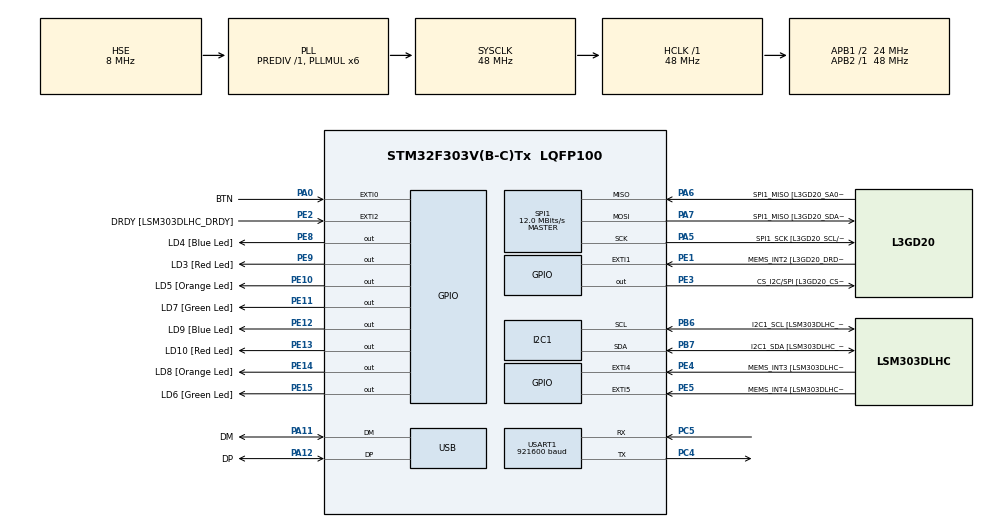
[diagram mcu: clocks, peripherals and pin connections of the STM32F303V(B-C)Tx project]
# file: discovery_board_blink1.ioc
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I2C1.Timing=0x00201D2B
I2C1.Timing-I2C=0x2000090E
Mcu.Family=STM32F3
Mcu.Name=STM32F303V(B-C)Tx
Mcu.Package=LQFP100
NVIC.EXTI0_IRQn=true\:0\:0\:false\:false\:true\:true\:true\:true
NVIC.PriorityGroup=NVIC_PRIORITYGROUP_0
PA0.GPIO_Label=BTN
PA0.GPIO_ModeDefaultEXTI=GPIO_MODE_IT_RISING
PA0.GPIO_PuPd=GPIO_PULLDOWN
PA0.Signal=GPXTI0
PA11.GPIO_Label=DM
PA11.Mode=Device
PA11.Signal=USB_DM
PA12.GPIO_Label=DP
PA12.Mode=Device
PA12.Signal=USB_DP
PA13.GPIO_Label=SWDIO
PA13.Mode=Serial_Wire
PA13.Signal=SYS_JTMS-SWDIO
PA14.GPIO_Label=SWCLK
PA14.Mode=Serial_Wire
PA14.Signal=SYS_JTCK-SWCLK
PA5.GPIO_Label=SPI1_SCK [L3GD20_SCL/SPC]
PA5.Mode=Full_Duplex_Master
PA5.Signal=SPI1_SCK
PA6.GPIO_Label=SPI1_MISO [L3GD20_SA0/SDO]
PA6.Mode=Full_Duplex_Master
PA6.Signal=SPI1_MISO
PA7.GPIO_Label=SPI1_MISO [L3GD20_SDA/SDI/SDO]
PA7.Mode=Full_Duplex_Master
PA7.Signal=SPI1_MOSI
PB3.GPIO_Label=SWO
PB3.Signal=SYS_JTDO-TRACESWO
PB6.GPIO_Label=I2C1_SCL [LSM303DLHC_SCL]
PB6.GPIO_Pu=GPIO_PULLUP
PB6.Mode=I2C
PB6.Signal=I2C1_SCL
PB7.GPIO_Label=I2C1_SDA [LSM303DLHC_SDA]
PB7.GPIO_Pu=GPIO_PULLUP
PB7.Mode=I2C
PB7.Signal=I2C1_SDA
PC14-OSC32_IN.GPIO_Label=OSC32_IN
PC14-OSC32_IN.Signal=RCC_OSC32_IN
PC15-OSC32_OUT.GPIO_Label=OSC32_OUT
PC15-OSC32_OUT.Signal=RCC_OSC32_OUT
PC4.Mode=Asynchronous
PC4.Signal=USART1_TX
PC5.Mode=Asynchronous
PC5.Signal=USART1_RX
PE1.GPIO_Label=MEMS_INT2 [L3GD20_DRDY/INT2]
PE1.GPIO_ModeDefaultEXTI=GPIO_MODE_EVT_RISING
PE1.Signal=GPXTI1
PE10.GPIO_Label=LD5 [Orange Led]
PE10.Signal=GPIO_Output
PE11.GPIO_Label=LD7 [Green Led]
PE11.PinState=GPIO_PIN_RESET
PE11.Signal=GPIO_Output
PE12.GPIO_Label=LD9 [Blue Led]
PE12.PinState=GPIO_PIN_RESET
PE12.Signal=GPIO_Output
PE13.GPIO_Label=LD10 [Red Led]
PE13.Signal=GPIO_Output
PE14.GPIO_Label=LD8 [Orange Led]
PE14.Signal=GPIO_Output
PE15.GPIO_Label=LD6 [Green Led]
PE15.Signal=GPIO_Output
PE2.GPIO_Label=DRDY [LSM303DLHC_DRDY]
PE2.GPIO_ModeDefaultEXTI=GPIO_MODE_EVT_RISING
PE2.Signal=GPXTI2
PE3.GPIO_Label=CS_I2C/SPI [L3GD20_CS_I2C/SPI]
PE3.Signal=GPIO_Output
PE4.GPIO_Label=MEMS_INT3 [LSM303DLHC_INT1]
PE4.GPIO_ModeDefaultEXTI=GPIO_MODE_EVT_RISING
PE4.Signal=GPXTI4
PE5.GPIO_Label=MEMS_INT4 [LSM303DLHC_INT2]
PE5.GPIO_ModeDefaultEXTI=GPIO_MODE_EVT_RISING
PE5.Signal=GPXTI5
PE8.GPIO_Label=LD4 [Blue Led]
PE8.Signal=GPIO_Output
PE9.GPIO_Label=LD3 [Red Led]
PE9.Signal=GPIO_Output
PF0-OSC_IN.GPIO_Label=OSC_IN
PF0-OSC_IN.Mode=HSE-External-Clock-Source
PF0-OSC_IN.Signal=RCC_OSC_IN
PF1-OSC_OUT.GPIO_Label=OSC_OUT
PF1-OSC_OUT.Signal=RCC_OSC_OUT
ProjectManager.HeapSize=0x200
ProjectManager.StackSize=0x400
ProjectManager.TargetToolchain=STM32CubeIDE
RCC.AHBFreq_Value=48000000
RCC.APB1CLKDivider=RCC_HCLK_DIV2
RCC.APB1Freq_Value=24000000
RCC.APB1TimFreq_Value=48000000
RCC.APB2Freq_Value=48000000
RCC.APB2TimFreq_Value=48000000
RCC.CortexFreq_Value=48000000
RCC.HCLKFreq_Value=48000000
RCC.HSE_VALUE=8000000
RCC.HSI_VALUE=8000000
RCC.LSE_VALUE=32768
RCC.PLLMUL=RCC_PLL_MUL6
RCC.SYSCLKFreq_VALUE=48000000
RCC.SYSCLKSourceVirtual=RCC_SYSCLKSOURCE_PLLCLK
RCC.USBFreq_Value=48000000
SPI1.BaudRatePrescaler=SPI_BAUDRATEPRESCALER_4
SPI1.BaudRatePrescaler-Full_Duplex_Master=SPI_BAUDRATEPRESCALER_2
SPI1.CalculateBaudRate=12.0 MBits/s
SPI1.CalculateBaudRate-Full_Duplex_Master=24.0 MBits/s
SPI1.Direction=SPI_DIRECTION_2LINES
SPI1.Mode=SPI_MODE_MASTER
SPI1.Mode-Full_Duplex_Master=SPI_MODE_MASTER
SPI1.VirtualType=VM_MASTER
USART1.BaudRate=921600
USART1.VirtualMode-Asynchronous=VM_ASYNC
board=STM32F3DISCOVERY

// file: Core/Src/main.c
/* USER CODE BEGIN Header */
/**
  ******************************************************************************
  * @file           : main.c
  * @brief          : Main program body
  ******************************************************************************
  * @attention
  *
  * Copyright (c) 2025 STMicroelectronics.
  * All rights reserved.
  *
  * This software is licensed under terms that can be found in the LICENSE file
  * in the root directory of this software component.
  * If no LICENSE file comes with this software, it is provided AS-IS.
  *
  ******************************************************************************
  */
/* USER CODE END Header */
#include "main.h"

/* USER CODE BEGIN Includes */
#include <stdio.h>
/* USER CODE END Includes */

I2C_HandleTypeDef hi2c1;

SPI_HandleTypeDef hspi1;

UART_HandleTypeDef huart1;

PCD_HandleTypeDef hpcd_USB_FS;

/* USER CODE BEGIN PV */
uint8_t btn_press = 0;

uint16_t blink_delays[] = {
		500,
		250,
		100
};

uint8_t blink_delay = 0;

/* USER CODE END PV */

void SystemClock_Config(void);
static void MX_GPIO_Init(void);
static void MX_I2C1_Init(void);
static void MX_SPI1_Init(void);
static void MX_USB_PCD_Init(void);
static void MX_USART1_UART_Init(void);

/* USER CODE BEGIN 0 */

/* USER CODE BEGIN 0 */

// Send printf to uart1
int _write(int fd, char* ptr, int len) {
  HAL_StatusTypeDef hstatus;

  if (fd == 1 || fd == 2) {
    hstatus = HAL_UART_Transmit(&huart1, (uint8_t *) ptr, len, HAL_MAX_DELAY);
    if (hstatus == HAL_OK)
      return len;
    else
      return -1;
  }
  return -1;
}

void HAL_GPIO_EXTI_Callback(uint16_t GPIO_Pin) {
	if (GPIO_Pin == BTN_Pin) {
		btn_press = 1;
	}
}

/* USER CODE END 0 */

int main(void)
{

  /* MCU Configuration--------------------------------------------------------*/

  /* Reset of all peripherals, Initializes the Flash interface and the Systick. */
  HAL_Init();

  /* Configure the system clock */
  SystemClock_Config();

  /* Initialize all configured peripherals */
  MX_GPIO_Init();
  MX_I2C1_Init();
  MX_SPI1_Init();
  MX_USB_PCD_Init();
  MX_USART1_UART_Init();
  /* USER CODE BEGIN 2 */

  printf("Blink1 starting\n");
  /* USER CODE END 2 */

  /* Infinite loop */
  /* USER CODE BEGIN WHILE */

  uint32_t now = 0, next_blink = 500, next_tick = 1000, loop_cnt = 0;

  while (1)
  {

	  now = HAL_GetTick();

	  if ( now >= next_blink) {

		  //printf("Toggle GPIO\n");

		  HAL_GPIO_TogglePin(GPIOE, GPIO_PIN_11);

		  next_blink = now + blink_delays[blink_delay];
	  }

	 if (now >= next_tick) {
		 printf("Tick %lu ( loop count = %lu)\n", now/ 1000, loop_cnt );

		 loop_cnt = 0;
		 next_tick = now + 1000;
	 }

	 if (btn_press){

		 printf("Button pressed\n");

		 ++blink_delay;
		 if(blink_delay >= sizeof(blink_delays) / sizeof(blink_delays[0]))
			 blink_delay = 0;

		 btn_press = 0;
	 }

	 ++loop_cnt;

    /* USER CODE END WHILE */

  }
}

void SystemClock_Config(void)
{
  RCC_OscInitTypeDef RCC_OscInitStruct = {0};
  RCC_ClkInitTypeDef RCC_ClkInitStruct = {0};
  RCC_PeriphCLKInitTypeDef PeriphClkInit = {0};

  /** Initializes the RCC Oscillators according to the specified parameters
  * in the RCC_OscInitTypeDef structure.
  */
  RCC_OscInitStruct.OscillatorType = RCC_OSCILLATORTYPE_HSI|RCC_OSCILLATORTYPE_HSE;
  RCC_OscInitStruct.HSEState = RCC_HSE_BYPASS;
  RCC_OscInitStruct.HSEPredivValue = RCC_HSE_PREDIV_DIV1;
  RCC_OscInitStruct.HSIState = RCC_HSI_ON;
  RCC_OscInitStruct.HSICalibrationValue = RCC_HSICALIBRATION_DEFAULT;
  RCC_OscInitStruct.PLL.PLLState = RCC_PLL_ON;
  RCC_OscInitStruct.PLL.PLLSource = RCC_PLLSOURCE_HSE;
  RCC_OscInitStruct.PLL.PLLMUL = RCC_PLL_MUL6;
  if (HAL_RCC_OscConfig(&RCC_OscInitStruct) != HAL_OK)
  {
    Error_Handler();
  }

  /** Initializes the CPU, AHB and APB buses clocks
  */
  RCC_ClkInitStruct.ClockType = RCC_CLOCKTYPE_HCLK|RCC_CLOCKTYPE_SYSCLK
                              |RCC_CLOCKTYPE_PCLK1|RCC_CLOCKTYPE_PCLK2;
  RCC_ClkInitStruct.SYSCLKSource = RCC_SYSCLKSOURCE_PLLCLK;
  RCC_ClkInitStruct.AHBCLKDivider = RCC_SYSCLK_DIV1;
  RCC_ClkInitStruct.APB1CLKDivider = RCC_HCLK_DIV2;
  RCC_ClkInitStruct.APB2CLKDivider = RCC_HCLK_DIV1;

  if (HAL_RCC_ClockConfig(&RCC_ClkInitStruct, FLASH_LATENCY_1) != HAL_OK)
  {
    Error_Handler();
  }
  PeriphClkInit.PeriphClockSelection = RCC_PERIPHCLK_USB|RCC_PERIPHCLK_USART1
                              |RCC_PERIPHCLK_I2C1;
  PeriphClkInit.Usart1ClockSelection = RCC_USART1CLKSOURCE_PCLK2;
  PeriphClkInit.I2c1ClockSelection = RCC_I2C1CLKSOURCE_HSI;
  PeriphClkInit.USBClockSelection = RCC_USBCLKSOURCE_PLL;
  if (HAL_RCCEx_PeriphCLKConfig(&PeriphClkInit) != HAL_OK)
  {
    Error_Handler();
  }
}

static void MX_I2C1_Init(void)
{

  hi2c1.Instance = I2C1;
  hi2c1.Init.Timing = 0x00201D2B;
  hi2c1.Init.OwnAddress1 = 0;
  hi2c1.Init.AddressingMode = I2C_ADDRESSINGMODE_7BIT;
  hi2c1.Init.DualAddressMode = I2C_DUALADDRESS_DISABLE;
  hi2c1.Init.OwnAddress2 = 0;
  hi2c1.Init.OwnAddress2Masks = I2C_OA2_NOMASK;
  hi2c1.Init.GeneralCallMode = I2C_GENERALCALL_DISABLE;
  hi2c1.Init.NoStretchMode = I2C_NOSTRETCH_DISABLE;
  if (HAL_I2C_Init(&hi2c1) != HAL_OK)
  {
    Error_Handler();
  }

  /** Configure Analogue filter
  */
  if (HAL_I2CEx_ConfigAnalogFilter(&hi2c1, I2C_ANALOGFILTER_ENABLE) != HAL_OK)
  {
    Error_Handler();
  }

  /** Configure Digital filter
  */
  if (HAL_I2CEx_ConfigDigitalFilter(&hi2c1, 0) != HAL_OK)
  {
    Error_Handler();
  }

}

static void MX_SPI1_Init(void)
{

  /* SPI1 parameter configuration*/
  hspi1.Instance = SPI1;
  hspi1.Init.Mode = SPI_MODE_MASTER;
  hspi1.Init.Direction = SPI_DIRECTION_2LINES;
  hspi1.Init.DataSize = SPI_DATASIZE_4BIT;
  hspi1.Init.CLKPolarity = SPI_POLARITY_LOW;
  hspi1.Init.CLKPhase = SPI_PHASE_1EDGE;
  hspi1.Init.NSS = SPI_NSS_SOFT;
  hspi1.Init.BaudRatePrescaler = SPI_BAUDRATEPRESCALER_4;
  hspi1.Init.FirstBit = SPI_FIRSTBIT_MSB;
  hspi1.Init.TIMode = SPI_TIMODE_DISABLE;
  hspi1.Init.CRCCalculation = SPI_CRCCALCULATION_DISABLE;
  hspi1.Init.CRCPolynomial = 7;
  hspi1.Init.CRCLength = SPI_CRC_LENGTH_DATASIZE;
  hspi1.Init.NSSPMode = SPI_NSS_PULSE_ENABLE;
  if (HAL_SPI_Init(&hspi1) != HAL_OK)
  {
    Error_Handler();
  }

}

static void MX_USART1_UART_Init(void)
{

  huart1.Instance = USART1;
  huart1.Init.BaudRate = 921600;
  huart1.Init.WordLength = UART_WORDLENGTH_8B;
  huart1.Init.StopBits = UART_STOPBITS_1;
  huart1.Init.Parity = UART_PARITY_NONE;
  huart1.Init.Mode = UART_MODE_TX_RX;
  huart1.Init.HwFlowCtl = UART_HWCONTROL_NONE;
  huart1.Init.OverSampling = UART_OVERSAMPLING_16;
  huart1.Init.OneBitSampling = UART_ONE_BIT_SAMPLE_DISABLE;
  huart1.AdvancedInit.AdvFeatureInit = UART_ADVFEATURE_NO_INIT;
  if (HAL_UART_Init(&huart1) != HAL_OK)
  {
    Error_Handler();
  }

}

static void MX_USB_PCD_Init(void)
{

  hpcd_USB_FS.Instance = USB;
  hpcd_USB_FS.Init.dev_endpoints = 8;
  hpcd_USB_FS.Init.speed = PCD_SPEED_FULL;
  hpcd_USB_FS.Init.phy_itface = PCD_PHY_EMBEDDED;
  hpcd_USB_FS.Init.low_power_enable = DISABLE;
  hpcd_USB_FS.Init.battery_charging_enable = DISABLE;
  if (HAL_PCD_Init(&hpcd_USB_FS) != HAL_OK)
  {
    Error_Handler();
  }

}

static void MX_GPIO_Init(void)
{
  GPIO_InitTypeDef GPIO_InitStruct = {0};

  /* GPIO Ports Clock Enable */
  __HAL_RCC_GPIOE_CLK_ENABLE();
  __HAL_RCC_GPIOC_CLK_ENABLE();
  __HAL_RCC_GPIOF_CLK_ENABLE();
  __HAL_RCC_GPIOA_CLK_ENABLE();
  __HAL_RCC_GPIOB_CLK_ENABLE();

  /*Configure GPIO pin Output Level */
  HAL_GPIO_WritePin(GPIOE, CS_I2C_SPI_Pin|LD4_Pin|LD3_Pin|LD5_Pin
                          |LD7_Pin|LD9_Pin|LD10_Pin|LD8_Pin
                          |LD6_Pin, GPIO_PIN_RESET);

  /*Configure GPIO pins : DRDY_Pin MEMS_INT3_Pin MEMS_INT4_Pin MEMS_INT2_Pin */
  GPIO_InitStruct.Pin = DRDY_Pin|MEMS_INT3_Pin|MEMS_INT4_Pin|MEMS_INT2_Pin;
  GPIO_InitStruct.Mode = GPIO_MODE_EVT_RISING;
  GPIO_InitStruct.Pull = GPIO_NOPULL;
  HAL_GPIO_Init(GPIOE, &GPIO_InitStruct);

  /*Configure GPIO pins : CS_I2C_SPI_Pin LD4_Pin LD3_Pin LD5_Pin
                           LD7_Pin LD9_Pin LD10_Pin LD8_Pin
                           LD6_Pin */
  GPIO_InitStruct.Pin = CS_I2C_SPI_Pin|LD4_Pin|LD3_Pin|LD5_Pin
                          |LD7_Pin|LD9_Pin|LD10_Pin|LD8_Pin
                          |LD6_Pin;
  GPIO_InitStruct.Mode = GPIO_MODE_OUTPUT_PP;
  GPIO_InitStruct.Pull = GPIO_NOPULL;
  GPIO_InitStruct.Speed = GPIO_SPEED_FREQ_LOW;
  HAL_GPIO_Init(GPIOE, &GPIO_InitStruct);

  /*Configure GPIO pin : BTN_Pin */
  GPIO_InitStruct.Pin = BTN_Pin;
  GPIO_InitStruct.Mode = GPIO_MODE_IT_RISING;
  GPIO_InitStruct.Pull = GPIO_PULLDOWN;
  HAL_GPIO_Init(BTN_GPIO_Port, &GPIO_InitStruct);

  /* EXTI interrupt init*/
  HAL_NVIC_SetPriority(EXTI0_IRQn, 0, 0);
  HAL_NVIC_EnableIRQ(EXTI0_IRQn);

}

void Error_Handler(void)
{
  __disable_irq();
  while (1)
  {
  }
}
